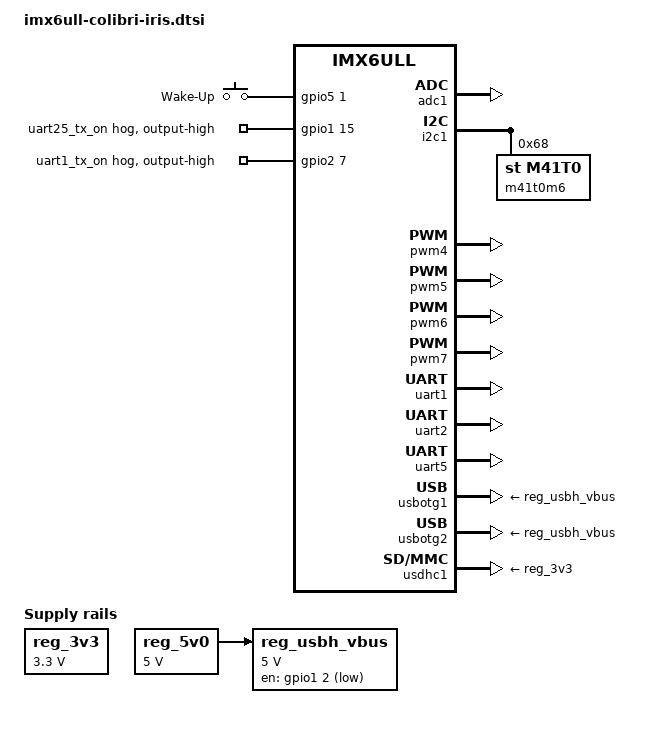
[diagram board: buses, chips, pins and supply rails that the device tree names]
// SPDX-License-Identifier: GPL-2.0-or-later OR MIT
/*
 * Copyright 2018-2022 Toradex
 */

/ {
	chosen {
		stdout-path = "serial0:115200n8";
	};

	gpio-keys {
		compatible = "gpio-keys";
		pinctrl-names = "default";
		pinctrl-0 = <&pinctrl_snvs_gpiokeys>;

		power {
			label = "Wake-Up";
			gpios = <&gpio5 1 GPIO_ACTIVE_HIGH>;
			linux,code = <KEY_WAKEUP>;
			debounce-interval = <10>;
			wakeup-source;
		};
	};

	reg_3v3: regulator-3v3 {
		compatible = "regulator-fixed";
		regulator-name = "3.3V";
		regulator-min-microvolt = <3300000>;
		regulator-max-microvolt = <3300000>;
	};

	reg_5v0: regulator-5v0 {
		compatible = "regulator-fixed";
		regulator-name = "5V";
		regulator-min-microvolt = <5000000>;
		regulator-max-microvolt = <5000000>;
	};

	reg_usbh_vbus: regulator-usbh-vbus {
		compatible = "regulator-fixed";
		pinctrl-names = "default";
		pinctrl-0 = <&pinctrl_usbh_reg>;
		regulator-name = "VCC_USB[1-4]";
		regulator-min-microvolt = <5000000>;
		regulator-max-microvolt = <5000000>;
		gpio = <&gpio1 2 GPIO_ACTIVE_LOW>;
		vin-supply = <&reg_5v0>;
	};
};

&adc1 {
	status = "okay";
};

&gpio1 {
	/*
	 * uart25_tx_on turns the UART transceiver on. If one wants to turn the
	 * transceiver off, that property has to be deleted and the gpio handled
	 * in userspace.
	 * The same applies to uart1_tx_on.
	 */
	uart25_tx_on {
		gpio-hog;
		gpios = <15 0>;
		output-high;
	};
};

&gpio2 {
	uart1_tx_on {
		gpio-hog;
		gpios = <7 0>;
		output-high;
	};
};

&i2c1 {
	status = "okay";

	/* M41T0M6 real time clock on carrier board */
	m41t0m6: rtc@68 {
		compatible = "st,m41t0";
		reg = <0x68>;
	};
};

/* PWM <A> */
&pwm4 {
	status = "okay";
};

/* PWM <B> */
&pwm5 {
	status = "okay";
};

/* PWM <C> */
&pwm6 {
	status = "okay";
};

/* PWM <D> */
&pwm7 {
	status = "okay";
};

&uart1 {
	status = "okay";
};

&uart2 {
	status = "okay";
};

&uart5 {
	status = "okay";
};

&usbotg1 {
	vbus-supply = <&reg_usbh_vbus>;
	status = "okay";
};

&usbotg2 {
	vbus-supply = <&reg_usbh_vbus>;
	status = "okay";
};

&usdhc1 {
	vmmc-supply = <&reg_3v3>;
	status = "okay";
};
